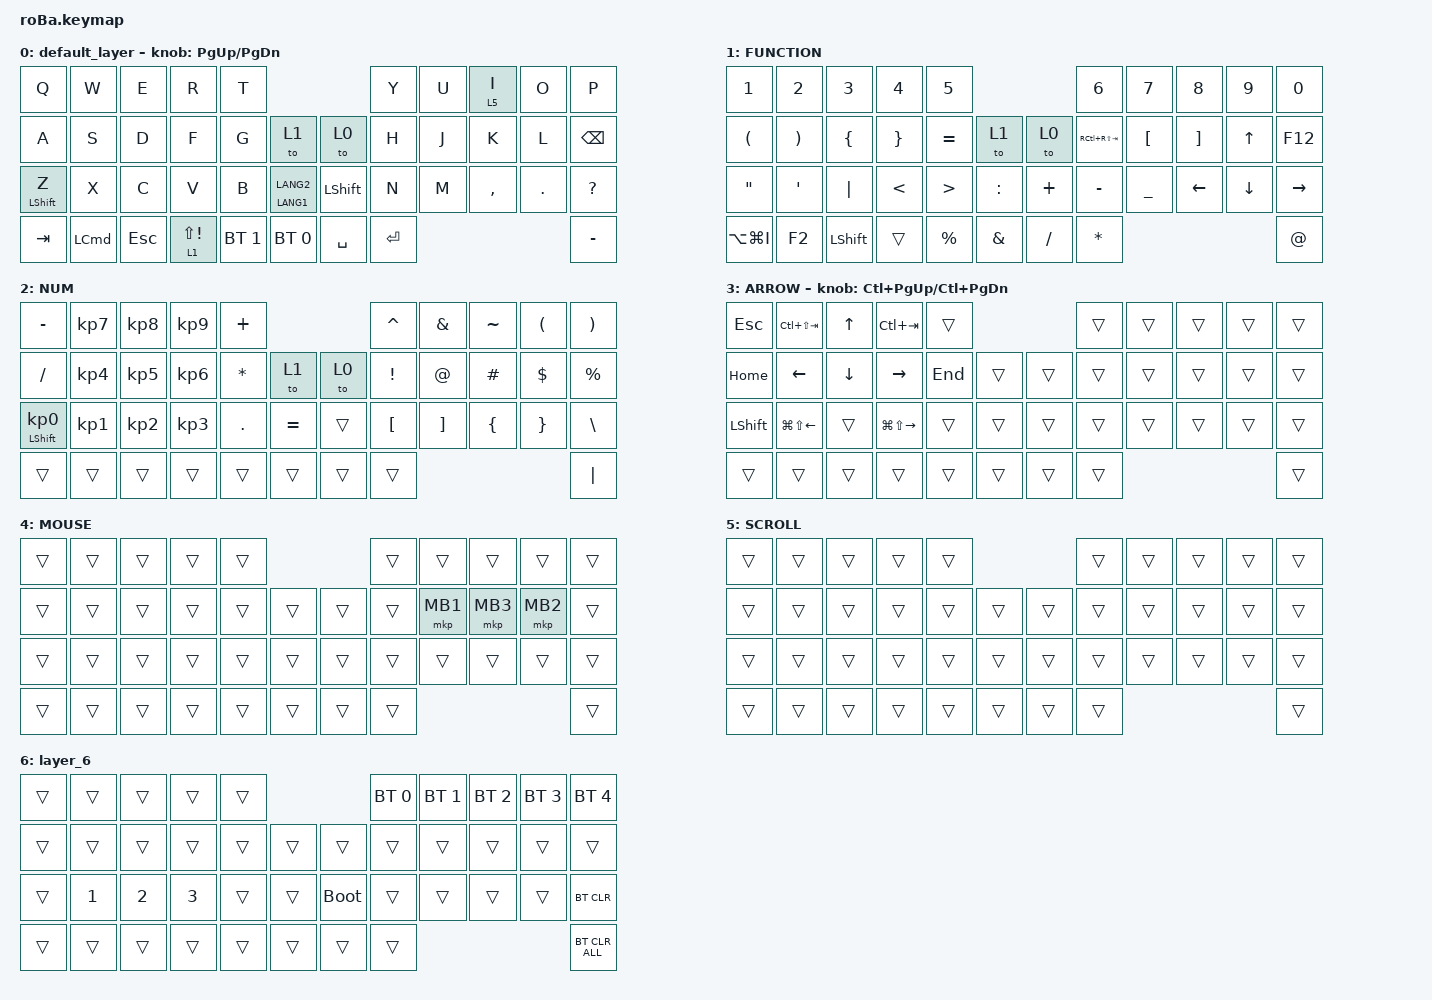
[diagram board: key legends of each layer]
#include <behaviors.dtsi>
#include <dt-bindings/zmk/bt.h>
#include <dt-bindings/zmk/keys.h>
#include <dt-bindings/zmk/pointing.h>

&mt {
    flavor = "balanced";
    quick-tap-ms = <0>;
};

&trackball {
    automouse-layer = <4>;
    scroll-layers = <5>;

    // arrows {
    //     layers = <3>;
    //     bindings =
    //         <&kp RIGHT_ARROW>,
    //         <&kp LEFT_ARROW>,
    //         <&kp UP_ARROW>,
    //         <&kp DOWN_ARROW>;
    //     tick = <10>;
    //     wait-ms = <5>;
    //     tap-ms = <5>;
    // };
};

/ {
    combos {
        compatible = "zmk,combos";

        tab {
            bindings = <&kp TAB>;
            key-positions = <11 12>;
        };

        shift_tab {
            bindings = <&kp LS(TAB)>;
            key-positions = <12 13>;
        };

        muhennkann {
            bindings = <&to_layer_0 INT_MUHENKAN>;
            key-positions = <11 10>;
        };

        double_quotation {
            bindings = <&kp DOUBLE_QUOTES>;
            key-positions = <20 21>;
        };

        eq {
            bindings = <&kp EQUAL>;
            key-positions = <24 25>;
        };
    };

    macros {
        to_layer_0: to_layer_0 {
            compatible = "zmk,behavior-macro-one-param";
            #binding-cells = <1>;
            bindings = <&to 0 &macro_param_1to1 &kp MACRO_PLACEHOLDER>;
            label = "TO_LAYER_0";
        };
    };

    behaviors {
        lt_to_layer_0: lt_to_layer_0 {
            compatible = "zmk,behavior-hold-tap";
            label = "LAYER_TAP_TO_0";
            bindings = <&mo>, <&to_layer_0>;

            #binding-cells = <2>;
            tapping-term-ms = <200>;
        };
    };

    keymap {
        compatible = "zmk,keymap";

        default_layer {
            bindings = <
&kp Q             &kp W             &kp E    &kp R                  &kp T                                              &kp Y      &kp U  &lt 5 I    &kp O    &kp P
&kp A             &kp S             &kp D    &kp F                  &kp G         &to 1                &to 0           &kp H      &kp J  &kp K      &kp L    &kp BACKSPACE
&mt LEFT_SHIFT Z  &kp X             &kp C    &kp V                  &kp B         &mt LANG1 LANG2      &kp LEFT_SHIFT  &kp N      &kp M  &kp COMMA  &kp DOT  &kp QUESTION
&kp TAB           &kp LEFT_COMMAND  &kp ESC  &lt 1 LS(EXCLAMATION)  &bt BT_SEL 1  &bt BT_SEL 0         &kp SPACE       &kp ENTER                             &kp MINUS
            >;

            sensor-bindings = <&inc_dec_kp PG_UP PAGE_DOWN>;
        };

        FUNCTION {
            bindings = <
&kp NUMBER_1          &kp NUMBER_2           &kp NUMBER_3    &kp NUMBER_4     &kp NUMBER_5                                    &kp NUMBER_6     &kp NUMBER_7      &kp NUMBER_8       &kp NUMBER_9    &kp NUMBER_0
&kp LEFT_PARENTHESIS  &kp RIGHT_PARENTHESIS  &kp LEFT_BRACE  &kp RIGHT_BRACE  &kp EQUAL         &to 1              &to 0      &kp RC(RS(TAB))  &kp LEFT_BRACKET  &kp RIGHT_BRACKET  &kp UP_ARROW    &kp F12
&kp DOUBLE_QUOTES     &kp SQT                &kp PIPE        &kp LESS_THAN    &kp GREATER_THAN  &kp COLON          &kp PLUS   &kp MINUS        &kp UNDER         &kp LEFT_ARROW     &kp DOWN_ARROW  &kp RIGHT_ARROW
&kp LA(LG(I))         &kp F2                 &kp LEFT_SHIFT  &trans           &kp PERCENT       &kp AMPERSAND      &kp SLASH  &kp ASTERISK                                                          &kp AT
            >;
        };

        NUM {
            bindings = <
&kp MINUS                   &kp KP_NUMBER_7  &kp KP_NUMBER_8  &kp KP_NUMBER_9  &kp PLUS                             &kp CARET         &kp AMPERSAND      &kp TILDE       &kp LEFT_PARENTHESIS  &kp RIGHT_PARENTHESIS
&kp SLASH                   &kp KP_NUMBER_4  &kp KP_NUMBER_5  &kp KP_NUMBER_6  &kp ASTERISK  &to 1          &to 0   &kp EXCLAMATION   &kp AT_SIGN        &kp HASH        &kp DOLLAR            &kp PERCENT
&mt LEFT_SHIFT KP_NUMBER_0  &kp KP_NUMBER_1  &kp KP_NUMBER_2  &kp KP_NUMBER_3  &kp PERIOD    &kp EQUAL      &trans  &kp LEFT_BRACKET  &kp RIGHT_BRACKET  &kp LEFT_BRACE  &kp RIGHT_BRACE       &kp BACKSLASH
&trans                      &trans           &trans           &trans           &trans        &trans         &trans  &trans                                                                     &kp PIPE
            >;
        };

        ARROW {
            bindings = <
&kp ESCAPE      &kp LC(LS(TAB))         &kp UP_ARROW    &kp LC(TAB)              &trans                       &trans  &trans  &trans  &trans  &trans
&kp HOME        &kp LEFT_ARROW          &kp DOWN_ARROW  &kp RIGHT_ARROW          &kp END  &trans      &trans  &trans  &trans  &trans  &trans  &trans
&kp LEFT_SHIFT  &kp LG(LS(LEFT_ARROW))  &trans          &kp LG(LS(RIGHT_ARROW))  &trans   &trans      &trans  &trans  &trans  &trans  &trans  &trans
&trans          &trans                  &trans          &trans                   &trans   &trans      &trans  &trans                          &trans
            >;

            sensor-bindings = <&inc_dec_kp LC(PAGE_UP) LC(PAGE_DOWN)>;
        };

        MOUSE {
            bindings = <
&trans  &trans  &trans  &trans  &trans                      &trans  &trans    &trans    &trans    &trans
&trans  &trans  &trans  &trans  &trans  &trans      &trans  &trans  &mkp MB1  &mkp MB3  &mkp MB2  &trans
&trans  &trans  &trans  &trans  &trans  &trans      &trans  &trans  &trans    &trans    &trans    &trans
&trans  &trans  &trans  &trans  &trans  &trans      &trans  &trans                                &trans
            >;
        };

        SCROLL {
            bindings = <
&trans  &trans  &trans  &trans  &trans                      &trans  &trans  &trans  &trans  &trans
&trans  &trans  &trans  &trans  &trans  &trans      &trans  &trans  &trans  &trans  &trans  &trans
&trans  &trans  &trans  &trans  &trans  &trans      &trans  &trans  &trans  &trans  &trans  &trans
&trans  &trans  &trans  &trans  &trans  &trans      &trans  &trans                          &trans
            >;
        };

        layer_6 {
            bindings = <
&trans  &trans        &trans        &trans        &trans                           &bt BT_SEL 0  &bt BT_SEL 1  &bt BT_SEL 2  &bt BT_SEL 3  &bt BT_SEL 4
&trans  &trans        &trans        &trans        &trans  &trans      &trans       &trans        &trans        &trans        &trans        &trans
&trans  &kp NUMBER_1  &kp NUMBER_2  &kp NUMBER_3  &trans  &trans      &bootloader  &trans        &trans        &trans        &trans        &bt BT_CLR
&trans  &trans        &trans        &trans        &trans  &trans      &trans       &trans                                                  &bt BT_CLR_ALL
            >;
        };
    };
};
